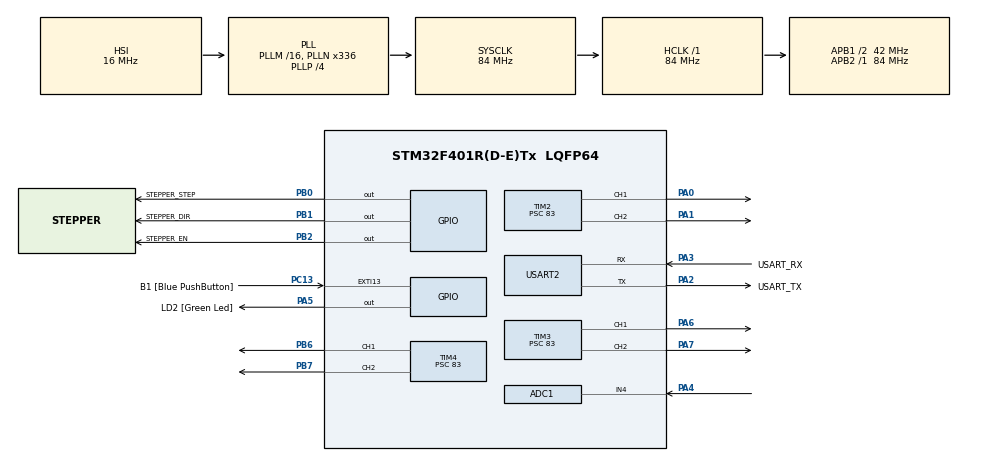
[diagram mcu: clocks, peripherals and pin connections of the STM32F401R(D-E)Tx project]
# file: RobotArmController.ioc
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ADC1.Channel-0\#ChannelRegularConversion=ADC_CHANNEL_4
ADC1.NbrOfConversionFlag=1
ADC1.Rank-0\#ChannelRegularConversion=1
ADC1.SamplingTime-0\#ChannelRegularConversion=ADC_SAMPLETIME_84CYCLES
ADC1.master=1
Mcu.Family=STM32F4
Mcu.Name=STM32F401R(D-E)Tx
Mcu.Package=LQFP64
NVIC.PriorityGroup=NVIC_PRIORITYGROUP_4
NVIC.TIM5_IRQn=true\:0\:0\:false\:false\:true\:true\:true\:true
NVIC.USART2_IRQn=true\:0\:0\:false\:false\:true\:true\:true\:true
PA0-WKUP.Signal=S_TIM2_CH1_ETR
PA1.Signal=S_TIM2_CH2
PA13.GPIO_Label=TMS
PA13.Mode=Trace_Asynchronous_SW
PA13.Signal=SYS_JTMS-SWDIO
PA14.GPIO_Label=TCK
PA14.Mode=Trace_Asynchronous_SW
PA14.Signal=SYS_JTCK-SWCLK
PA2.GPIO_Label=USART_TX
PA2.GPIO_Mode=GPIO_MODE_AF_PP
PA2.GPIO_PuPd=GPIO_NOPULL
PA2.GPIO_Speed=GPIO_SPEED_FREQ_LOW
PA2.Mode=Asynchronous
PA2.Signal=USART2_TX
PA3.GPIO_Label=USART_RX
PA3.GPIO_Mode=GPIO_MODE_AF_PP
PA3.GPIO_PuPd=GPIO_NOPULL
PA3.GPIO_Speed=GPIO_SPEED_FREQ_LOW
PA3.Mode=Asynchronous
PA3.Signal=USART2_RX
PA4.Signal=ADCx_IN4
PA5.GPIO_Label=LD2 [Green Led]
PA5.GPIO_Mode=GPIO_MODE_OUTPUT_PP
PA5.GPIO_PuPd=GPIO_NOPULL
PA5.GPIO_Speed=GPIO_SPEED_FREQ_LOW
PA5.Signal=GPIO_Output
PA6.Signal=S_TIM3_CH1
PA7.Signal=S_TIM3_CH2
PB0.GPIO_Label=STEPPER_STEP
PB0.GPIO_Speed=GPIO_SPEED_FREQ_HIGH
PB0.Signal=GPIO_Output
PB1.GPIO_Label=STEPPER_DIR
PB1.Signal=GPIO_Output
PB2.GPIO_Label=STEPPER_EN
PB2.GPIO_Speed=GPIO_SPEED_FREQ_LOW
PB2.PinState=GPIO_PIN_SET
PB2.Signal=GPIO_Output
PB3.GPIO_Label=SWO
PB3.Mode=Trace_Asynchronous_SW
PB3.Signal=SYS_JTDO-SWO
PB6.Signal=S_TIM4_CH1
PB7.Signal=S_TIM4_CH2
PC13-ANTI_TAMP.GPIO_Label=B1 [Blue PushButton]
PC13-ANTI_TAMP.GPIO_ModeDefaultEXTI=GPIO_MODE_IT_FALLING
PC13-ANTI_TAMP.GPIO_PuPd=GPIO_NOPULL
PC13-ANTI_TAMP.Signal=GPXTI13
PC14-OSC32_IN.Mode=LSE-External-Oscillator
PC14-OSC32_IN.Signal=RCC_OSC32_IN
PC15-OSC32_OUT.Mode=LSE-External-Oscillator
PC15-OSC32_OUT.Signal=RCC_OSC32_OUT
PH0\ -\ OSC_IN.Mode=HSE-External-Clock-Source
PH0\ -\ OSC_IN.Signal=RCC_OSC_IN
PH1\ -\ OSC_OUT.Mode=HSE-External-Clock-Source
PH1\ -\ OSC_OUT.Signal=RCC_OSC_OUT
ProjectManager.HeapSize=0x200
ProjectManager.StackSize=0x400
ProjectManager.TargetToolchain=STM32CubeIDE
RCC.48MHZClocksFreq_Value=48000000
RCC.AHBFreq_Value=84000000
RCC.APB1CLKDivider=RCC_HCLK_DIV2
RCC.APB1Freq_Value=42000000
RCC.APB1TimFreq_Value=84000000
RCC.APB2Freq_Value=84000000
RCC.APB2TimFreq_Value=84000000
RCC.CortexFreq_Value=84000000
RCC.HCLKFreq_Value=84000000
RCC.HSE_VALUE=8000000
RCC.HSI_VALUE=16000000
RCC.PLLN=336
RCC.PLLP=RCC_PLLP_DIV4
RCC.PLLQ=7
RCC.SYSCLKFreq_VALUE=84000000
RCC.SYSCLKSource=RCC_SYSCLKSOURCE_PLLCLK
RCC.VCOOutputFreq_Value=336000000
SH.ADCx_IN4.0=ADC1_IN4,IN4
SH.S_TIM2_CH1_ETR.0=TIM2_CH1,PWM Generation1 CH1
SH.S_TIM2_CH2.0=TIM2_CH2,PWM Generation2 CH2
SH.S_TIM3_CH1.0=TIM3_CH1,PWM Generation1 CH1
SH.S_TIM3_CH2.0=TIM3_CH2,PWM Generation2 CH2
SH.S_TIM4_CH1.0=TIM4_CH1,PWM Generation1 CH1
SH.S_TIM4_CH2.0=TIM4_CH2,PWM Generation2 CH2
TIM2.Channel-PWM\ Generation1\ CH1=TIM_CHANNEL_1
TIM2.Channel-PWM\ Generation2\ CH2=TIM_CHANNEL_2
TIM2.Period=19999
TIM2.Prescaler=83
TIM2.Pulse-PWM\ Generation1\ CH1=1500
TIM2.Pulse-PWM\ Generation2\ CH2=1500
TIM3.Channel-PWM\ Generation1\ CH1=TIM_CHANNEL_1
TIM3.Channel-PWM\ Generation2\ CH2=TIM_CHANNEL_2
TIM3.Period=19999
TIM3.Prescaler=83
TIM3.Pulse-PWM\ Generation1\ CH1=1500
TIM3.Pulse-PWM\ Generation2\ CH2=1500
TIM4.Channel-PWM\ Generation1\ CH1=TIM_CHANNEL_1
TIM4.Channel-PWM\ Generation2\ CH2=TIM_CHANNEL_2
TIM4.Period=19999
TIM4.Prescaler=83
TIM4.Pulse-PWM\ Generation1\ CH1=1500
TIM4.Pulse-PWM\ Generation2\ CH2=1500
TIM5.AutoReloadPreload=TIM_AUTORELOAD_PRELOAD_ENABLE
TIM5.Period=999
TIM5.Prescaler=83
USART2.VirtualMode=VM_ASYNC
VP_TIM2_VS_ClockSourceINT.Mode=Internal
VP_TIM3_VS_ClockSourceINT.Mode=Internal
VP_TIM4_VS_ClockSourceINT.Mode=Internal
VP_TIM5_VS_ClockSourceINT.Mode=Internal
board=NUCLEO-F401RE

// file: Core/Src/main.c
/* USER CODE BEGIN Header */
/**
  ******************************************************************************
  * @file           : main.c
  * @brief          : Main program body
  ******************************************************************************
  * @attention
  *
  * Copyright (c) 2026 STMicroelectronics.
  * All rights reserved.
  *
  * This software is licensed under terms that can be found in the LICENSE file
  * in the root directory of this software component.
  * If no LICENSE file comes with this software, it is provided AS-IS.
  *
  ******************************************************************************
  */
/* USER CODE END Header */
#include "main.h"
#include "adc.h"
#include "tim.h"
#include "usart.h"
#include "gpio.h"

/* USER CODE BEGIN Includes */
#include <string.h>
#include <stdio.h>
#include <stdlib.h>
/* USER CODE END Includes */

/* USER CODE BEGIN PV */
#define NUM_SERVOS         6
#define RX_BUFFER_SIZE     64

#define SERVO_MIN_US       500
#define SERVO_MAX_US       2500
#define SERVO_DEFAULT_US   1500

#define SERVO_STEP_US      10
#define UPDATE_PERIOD_MS   20

typedef struct {
    TIM_HandleTypeDef *htim;
    uint32_t channel;
} ServoMap_t;

static ServoMap_t servo_map[NUM_SERVOS];
static volatile uint16_t servo_current_us[NUM_SERVOS];
static volatile uint16_t servo_target_us[NUM_SERVOS];

static uint8_t rx_byte;
static char rx_buffer[RX_BUFFER_SIZE];
static volatile uint8_t rx_index = 0;
static volatile uint8_t line_ready = 0;
static char cmd_line[RX_BUFFER_SIZE];

#define STEPPER_MAX_SPEED_US   200
#define STEPPER_MIN_SPEED_US   2000
#define STEPPER_ACCEL_STEPS    100

static volatile int32_t stepper_current_pos = 0;
static volatile int32_t stepper_target_pos = 0;
static volatile uint8_t stepper_running = 0;
static volatile uint8_t stepper_step_state = 0;
static volatile uint32_t stepper_current_speed = STEPPER_MIN_SPEED_US;
/* USER CODE END PV */

void SystemClock_Config(void);
/* USER CODE BEGIN PFP */
static void Servo_Init(void);
static void Servo_SetAngle(uint8_t idx, float angle_deg);
static void Servo_SetPulse(uint8_t idx, uint16_t pulse_us);
static void Servo_UpdateAll(void);
static void Process_Command(const char *line);
static void UART_SendString(const char *str);

static void Stepper_Init(void);
static void Stepper_MoveTo(int32_t target_step);
static void Stepper_Stop(void);
static void Stepper_Enable(uint8_t enable);

static uint16_t Pot_Read(void);
/* USER CODE END PFP */

int main(void)
{

  /* MCU Configuration--------------------------------------------------------*/

  /* Reset of all peripherals, Initializes the Flash interface and the Systick. */
  HAL_Init();

  /* Configure the system clock */
  SystemClock_Config();

  /* Initialize all configured peripherals */
  MX_GPIO_Init();
  MX_TIM2_Init();
  MX_TIM3_Init();
  MX_TIM4_Init();
  MX_USART2_UART_Init();
  MX_TIM5_Init();
  MX_ADC1_Init();
  /* USER CODE BEGIN 2 */
  Servo_Init();
    Stepper_Init();

    HAL_UART_Receive_IT(&huart2, &rx_byte, 1);

    UART_SendString("ROBOT ARM READY\r\n");

    uint32_t last_update = HAL_GetTick();

  /* USER CODE END 2 */

  /* Infinite loop */
  /* USER CODE BEGIN WHILE */
   while (1)
    {
      if (line_ready) {
        Process_Command(cmd_line);
        line_ready = 0;
      }

      if (HAL_GetTick() - last_update >= UPDATE_PERIOD_MS) {
        Servo_UpdateAll();
        last_update = HAL_GetTick();
      }
    /* USER CODE END WHILE */

    }
}

void SystemClock_Config(void)
{
  RCC_OscInitTypeDef RCC_OscInitStruct = {0};
  RCC_ClkInitTypeDef RCC_ClkInitStruct = {0};

  /** Configure the main internal regulator output voltage
  */
  __HAL_RCC_PWR_CLK_ENABLE();
  __HAL_PWR_VOLTAGESCALING_CONFIG(PWR_REGULATOR_VOLTAGE_SCALE2);

  /** Initializes the RCC Oscillators according to the specified parameters
  * in the RCC_OscInitTypeDef structure.
  */
  RCC_OscInitStruct.OscillatorType = RCC_OSCILLATORTYPE_HSI;
  RCC_OscInitStruct.HSIState = RCC_HSI_ON;
  RCC_OscInitStruct.HSICalibrationValue = RCC_HSICALIBRATION_DEFAULT;
  RCC_OscInitStruct.PLL.PLLState = RCC_PLL_ON;
  RCC_OscInitStruct.PLL.PLLSource = RCC_PLLSOURCE_HSI;
  RCC_OscInitStruct.PLL.PLLM = 16;
  RCC_OscInitStruct.PLL.PLLN = 336;
  RCC_OscInitStruct.PLL.PLLP = RCC_PLLP_DIV4;
  RCC_OscInitStruct.PLL.PLLQ = 7;
  if (HAL_RCC_OscConfig(&RCC_OscInitStruct) != HAL_OK)
  {
    Error_Handler();
  }

  /** Initializes the CPU, AHB and APB buses clocks
  */
  RCC_ClkInitStruct.ClockType = RCC_CLOCKTYPE_HCLK|RCC_CLOCKTYPE_SYSCLK
                              |RCC_CLOCKTYPE_PCLK1|RCC_CLOCKTYPE_PCLK2;
  RCC_ClkInitStruct.SYSCLKSource = RCC_SYSCLKSOURCE_PLLCLK;
  RCC_ClkInitStruct.AHBCLKDivider = RCC_SYSCLK_DIV1;
  RCC_ClkInitStruct.APB1CLKDivider = RCC_HCLK_DIV2;
  RCC_ClkInitStruct.APB2CLKDivider = RCC_HCLK_DIV1;

  if (HAL_RCC_ClockConfig(&RCC_ClkInitStruct, FLASH_LATENCY_2) != HAL_OK)
  {
    Error_Handler();
  }
}

/* USER CODE BEGIN 4 */
static void Servo_Init(void)
{
  servo_map[0].htim = &htim2; servo_map[0].channel = TIM_CHANNEL_1;
  servo_map[1].htim = &htim2; servo_map[1].channel = TIM_CHANNEL_2;
  servo_map[2].htim = &htim3; servo_map[2].channel = TIM_CHANNEL_1;
  servo_map[3].htim = &htim3; servo_map[3].channel = TIM_CHANNEL_2;
  servo_map[4].htim = &htim4; servo_map[4].channel = TIM_CHANNEL_1;
  servo_map[5].htim = &htim4; servo_map[5].channel = TIM_CHANNEL_2;

  for (uint8_t i = 0; i < NUM_SERVOS; i++) {
    servo_current_us[i] = SERVO_DEFAULT_US;
    servo_target_us[i]  = SERVO_DEFAULT_US;
    __HAL_TIM_SET_COMPARE(servo_map[i].htim, servo_map[i].channel, SERVO_DEFAULT_US);
    HAL_TIM_PWM_Start(servo_map[i].htim, servo_map[i].channel);
  }
}

static void Servo_SetPulse(uint8_t idx, uint16_t pulse_us)
{
  if (idx >= NUM_SERVOS) return;
  if (pulse_us < SERVO_MIN_US) pulse_us = SERVO_MIN_US;
  if (pulse_us > SERVO_MAX_US) pulse_us = SERVO_MAX_US;
  servo_target_us[idx] = pulse_us;
}

static void Servo_SetAngle(uint8_t idx, float angle_deg)
{
  if (angle_deg < 0.0f)   angle_deg = 0.0f;
  if (angle_deg > 180.0f) angle_deg = 180.0f;
  uint16_t pulse = SERVO_MIN_US +
      (uint16_t)((angle_deg / 180.0f) * (SERVO_MAX_US - SERVO_MIN_US));
  Servo_SetPulse(idx, pulse);
}

static void Servo_UpdateAll(void)
{
  for (uint8_t i = 0; i < NUM_SERVOS; i++) {
    int32_t diff = (int32_t)servo_target_us[i] - (int32_t)servo_current_us[i];
    if (diff == 0) continue;

    int32_t step = (diff > 0) ? SERVO_STEP_US : -SERVO_STEP_US;
    if (abs(diff) < SERVO_STEP_US) step = diff;

    servo_current_us[i] += step;
    __HAL_TIM_SET_COMPARE(servo_map[i].htim, servo_map[i].channel,
                          servo_current_us[i]);
  }
}

static void Stepper_Init(void)
{
  HAL_GPIO_WritePin(STEPPER_EN_GPIO_Port, STEPPER_EN_Pin, GPIO_PIN_SET);
  HAL_GPIO_WritePin(STEPPER_STEP_GPIO_Port, STEPPER_STEP_Pin, GPIO_PIN_RESET);
  HAL_GPIO_WritePin(STEPPER_DIR_GPIO_Port, STEPPER_DIR_Pin, GPIO_PIN_RESET);
}

static void Stepper_Enable(uint8_t enable)
{
  HAL_GPIO_WritePin(STEPPER_EN_GPIO_Port, STEPPER_EN_Pin,
                    enable ? GPIO_PIN_RESET : GPIO_PIN_SET);
}

static void Stepper_MoveTo(int32_t target_step)
{
  stepper_target_pos = target_step;

  if (stepper_target_pos > stepper_current_pos) {
    HAL_GPIO_WritePin(STEPPER_DIR_GPIO_Port, STEPPER_DIR_Pin, GPIO_PIN_SET);
  } else if (stepper_target_pos < stepper_current_pos) {
    HAL_GPIO_WritePin(STEPPER_DIR_GPIO_Port, STEPPER_DIR_Pin, GPIO_PIN_RESET);
  } else {
    return;
  }

  Stepper_Enable(1);

  stepper_running = 1;
  stepper_current_speed = STEPPER_MIN_SPEED_US;
  __HAL_TIM_SET_AUTORELOAD(&htim5, stepper_current_speed - 1);
  __HAL_TIM_SET_COUNTER(&htim5, 0);
  HAL_TIM_Base_Start_IT(&htim5);
}

static void Stepper_Stop(void)
{
  HAL_TIM_Base_Stop_IT(&htim5);
  stepper_running = 0;
  HAL_GPIO_WritePin(STEPPER_STEP_GPIO_Port, STEPPER_STEP_Pin, GPIO_PIN_RESET);
}

void HAL_TIM_PeriodElapsedCallback(TIM_HandleTypeDef *htim)
{
  if (htim->Instance == TIM5) {
    if (!stepper_running) return;

    if (stepper_step_state == 0) {
      HAL_GPIO_WritePin(STEPPER_STEP_GPIO_Port, STEPPER_STEP_Pin, GPIO_PIN_SET);
      stepper_step_state = 1;
    } else {
      HAL_GPIO_WritePin(STEPPER_STEP_GPIO_Port, STEPPER_STEP_Pin, GPIO_PIN_RESET);
      stepper_step_state = 0;

      if (stepper_target_pos > stepper_current_pos) {
        stepper_current_pos++;
      } else if (stepper_target_pos < stepper_current_pos) {
        stepper_current_pos--;
      }

      if (stepper_current_pos == stepper_target_pos) {
        Stepper_Stop();
        return;
      }

      int32_t remaining = stepper_target_pos - stepper_current_pos;
      if (remaining < 0) remaining = -remaining;

      if (remaining < STEPPER_ACCEL_STEPS) {
        stepper_current_speed += 10;
        if (stepper_current_speed > STEPPER_MIN_SPEED_US)
          stepper_current_speed = STEPPER_MIN_SPEED_US;
      } else if (stepper_current_speed > STEPPER_MAX_SPEED_US) {
        stepper_current_speed -= 10;
      }

      __HAL_TIM_SET_AUTORELOAD(&htim5, stepper_current_speed - 1);
    }
  }
}

static uint16_t Pot_Read(void)
{
  HAL_ADC_Start(&hadc1);
  if (HAL_ADC_PollForConversion(&hadc1, 10) == HAL_OK) {
    uint16_t val = HAL_ADC_GetValue(&hadc1);
    HAL_ADC_Stop(&hadc1);
    return val;
  }
  HAL_ADC_Stop(&hadc1);
  return 0;
}

static void Process_Command(const char *line)
{
  if (line[0] == 'P') {
    UART_SendString("PONG\r\n");
    return;
  }

  if (line[0] == 'H') {
    for (uint8_t i = 0; i < NUM_SERVOS; i++) Servo_SetAngle(i, 90.0f);
    UART_SendString("OK HOME\r\n");
    return;
  }

  if (line[0] == 'S' && line[2] == ':') {
    uint8_t idx = line[1] - '0';
    float angle = atof(&line[3]);
    Servo_SetAngle(idx, angle);
    char resp[32];
    snprintf(resp, sizeof(resp), "OK S%d:%.1f\r\n", idx, angle);
    UART_SendString(resp);
    return;
  }

  if (line[0] == 'A' && line[1] == ':') {
    const char *p = &line[2];
    for (uint8_t i = 0; i < NUM_SERVOS; i++) {
      float angle = atof(p);
      Servo_SetAngle(i, angle);
      p = strchr(p, ',');
      if (!p) break;
      p++;
    }
    UART_SendString("OK ALL\r\n");
    return;
  }

  if (line[0] == 'M' && line[1] == ':') {
    int32_t target = atoi(&line[2]);
    Stepper_MoveTo(target);
    char resp[32];
    snprintf(resp, sizeof(resp), "OK M:%ld\r\n", target);
    UART_SendString(resp);
    return;
  }

  if (line[0] == 'X') {
    Stepper_Stop();
    Stepper_Enable(0);
    UART_SendString("OK STOP\r\n");
    return;
  }

  if (line[0] == 'Z') {
    stepper_current_pos = 0;
    stepper_target_pos = 0;
    UART_SendString("OK ZERO\r\n");
    return;
  }

  if (line[0] == 'Q') {
    char resp[32];
    snprintf(resp, sizeof(resp), "POS:%ld\r\n", stepper_current_pos);
    UART_SendString(resp);
    return;
  }

  if (line[0] == 'R') {
    uint16_t val = Pot_Read();
    char resp[32];
    snprintf(resp, sizeof(resp), "POT:%u\r\n", val);
    UART_SendString(resp);
    return;
  }

  UART_SendString("ERR\r\n");
}

static void UART_SendString(const char *str)
{
  HAL_UART_Transmit(&huart2, (uint8_t*)str, strlen(str), HAL_MAX_DELAY);
}

void HAL_UART_RxCpltCallback(UART_HandleTypeDef *huart)
{
  if (huart->Instance == USART2) {
    if (rx_byte == '\n' || rx_byte == '\r') {
      if (rx_index > 0) {
        rx_buffer[rx_index] = '\0';
        if (!line_ready) {
          strcpy(cmd_line, rx_buffer);
          line_ready = 1;
        }
        rx_index = 0;
      }
    } else if (rx_index < RX_BUFFER_SIZE - 1) {
      rx_buffer[rx_index++] = rx_byte;
    } else {
      rx_index = 0;
    }
    HAL_UART_Receive_IT(&huart2, &rx_byte, 1);
  }
}
/* USER CODE END 4 */

void Error_Handler(void)
{
  __disable_irq();
  while (1)
  {
  }
}
